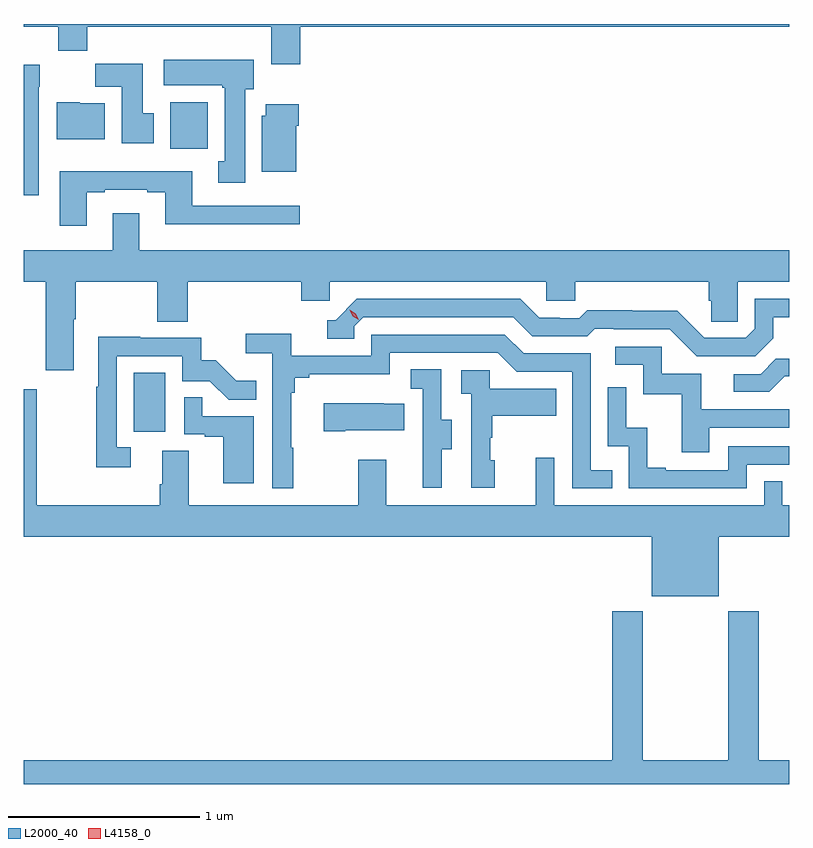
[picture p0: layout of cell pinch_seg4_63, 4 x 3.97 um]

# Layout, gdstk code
import gdstk
lib = gdstk.Library(unit=1e-6, precision=1e-09)
def R(c, l, rs):  # rectangles x0, y0, x1, y1
    for r in rs: c.add(gdstk.rectangle(r[:2], r[2:], *l))
def P(c, l, *ps):  # polygons
    for p in ps: c.add(gdstk.Polygon(p, *l))
L2000_40 = (2000, 40)
L4158_0 = (4158, 0)

pinch_seg4_63 = lib.new_cell('pinch_seg4_63')
R(pinch_seg4_63, L2000_40, [(1041.554,830.67,1041.718,830.977), (1041.743,832.148,1041.94,832.39)])
P(pinch_seg4_63, L2000_40, [(1042.424,832.784),(1044.978,832.784),(1044.978,832.799),(1040.978,832.799),(1040.978,832.784),(1041.16,832.784),(1041.16,832.66),(1041.311,832.66),(1041.311,832.784),(1042.271,832.784),(1042.271,832.59),(1042.424,832.59)],
  [(1042.135,832.458),(1042.18,832.458),(1042.18,832.612),(1041.711,832.612),(1041.711,832.478),(1042.015,832.478),(1042.015,832.465),(1042.028,832.465),(1042.028,832.082),(1041.995,832.082),(1041.995,831.969),(1042.135,831.969)],
  [(1041.658,832.332),(1041.601,832.332),(1041.601,832.591),(1041.352,832.591),(1041.352,832.472),(1041.491,832.472),(1041.491,832.176),(1041.658,832.176)],
  [(1041.057,832.472),(1041.062,832.472),(1041.062,832.585),(1040.978,832.585),(1040.978,831.904),(1041.057,831.904)],
  [(1041.403,832.384),(1041.27,832.384),(1041.27,832.39),(1041.152,832.39),(1041.152,832.196),(1041.403,832.196)],
  [(1042.402,832.268),(1042.415,832.268),(1042.415,832.381),(1042.244,832.381),(1042.244,832.32),(1042.223,832.32),(1042.223,832.028),(1042.402,832.028)],
  [(1041.307,831.921),(1041.403,831.921),(1041.403,831.933),(1041.623,831.933),(1041.623,831.921),(1041.719,831.921),(1041.719,831.752),(1042.42,831.752),(1042.42,831.849),(1041.859,831.849),(1041.859,832.03),(1041.167,832.03),(1041.167,831.744),(1041.307,831.744)],
  [(1041.241,831.256),(1041.249,831.256),(1041.249,831.452),(1041.676,831.452),(1041.676,831.244),(1041.836,831.244),(1041.836,831.452),(1042.427,831.452),(1042.427,831.354),(1042.578,831.354),(1042.578,831.452),(1043.709,831.452),(1043.709,831.354),(1043.859,831.354),(1043.859,831.452),(1044.557,831.452),(1044.557,831.354),(1044.571,831.354),(1044.571,831.244),(1044.708,831.244),(1044.708,831.452),(1044.978,831.452),(1044.978,831.616),(1041.583,831.616),(1041.583,831.811),(1041.443,831.811),(1041.443,831.616),(1040.978,831.616),(1040.978,831.452),(1041.094,831.452),(1041.094,830.991),(1041.241,830.991)],
  [(1044.895,831.157),(1044.895,831.267),(1044.978,831.267),(1044.978,831.363),(1044.798,831.363),(1044.798,831.207),(1044.75,831.159),(1044.534,831.159),(1044.392,831.301),(1044.156,831.301),(1044.156,831.304),(1043.923,831.304),(1043.881,831.261),(1043.778,831.261),(1043.778,831.264),(1043.671,831.264),(1043.572,831.363),(1042.719,831.363),(1042.608,831.252),(1042.565,831.252),(1042.565,831.156),(1042.704,831.156),(1042.704,831.219),(1042.752,831.267),(1043.535,831.267),(1043.634,831.168),(1043.923,831.168),(1043.962,831.207),(1044.061,831.207),(1044.061,831.204),(1044.354,831.204),(1044.495,831.063),(1044.801,831.063)],
  [(1042.387,830.585),(1042.375,830.585),(1042.375,830.873),(1042.394,830.873),(1042.394,830.95),(1042.471,830.95),(1042.471,830.969),(1042.89,830.969),(1042.89,831.081),(1043.454,831.081),(1043.553,830.982),(1043.844,830.982),(1043.844,830.373),(1044.053,830.373),(1044.053,830.469),(1043.94,830.469),(1043.94,831.078),(1043.59,831.078),(1043.491,831.177),(1042.794,831.177),(1042.794,831.066),(1042.376,831.066),(1042.376,831.182),(1042.137,831.182),(1042.137,831.08),(1042.278,831.08),(1042.278,830.373),(1042.387,830.373)],
  [(1041.538,830.589),(1041.465,830.589),(1041.465,831.063),(1041.807,831.063),(1041.807,830.934),(1041.951,830.934),(1042.049,830.836),(1042.193,830.836),(1042.193,830.935),(1042.089,830.935),(1041.982,831.042),(1041.906,831.042),(1041.906,831.159),(1041.587,831.159),(1041.587,831.164),(1041.369,831.164),(1041.369,830.903),(1041.357,830.903),(1041.357,830.484),(1041.538,830.484)],
  [(1044.559,830.691),(1044.978,830.691),(1044.978,830.787),(1044.517,830.787),(1044.517,830.973),(1044.312,830.973),(1044.312,831.114),(1044.069,831.114),(1044.069,831.018),(1044.216,831.018),(1044.216,830.865),(1044.415,830.865),(1044.415,830.562),(1044.559,830.562)],
  [(1044.955,830.958),(1044.978,830.958),(1044.978,831.05),(1044.908,831.05),(1044.828,830.97),(1044.687,830.97),(1044.687,830.877),(1044.874,830.877)],
  [(1043.161,830.578),(1043.215,830.578),(1043.215,830.733),(1043.16,830.733),(1043.16,830.996),(1043.001,830.996),(1043.001,830.893),(1043.064,830.893),(1043.064,830.589),(1043.063,830.589),(1043.063,830.376),(1043.161,830.376)],
  [(1043.44,830.52),(1043.415,830.52),(1043.415,830.639),(1043.425,830.639),(1043.425,830.753),(1043.759,830.753),(1043.759,830.893),(1043.412,830.893),(1043.412,830.991),(1043.265,830.991),(1043.265,830.867),(1043.316,830.867),(1043.316,830.376),(1043.44,830.376)],
  [(1044.756,830.496),(1044.978,830.496),(1044.978,830.592),(1044.66,830.592),(1044.66,830.469),(1044.331,830.469),(1044.331,830.482),(1044.236,830.482),(1044.236,830.69),(1044.126,830.69),(1044.126,830.902),(1044.03,830.902),(1044.03,830.592),(1044.138,830.592),(1044.138,830.373),(1044.756,830.373)],
  [(1044.61,830.12),(1044.978,830.12),(1044.978,830.284),(1044.942,830.284),(1044.942,830.411),(1044.846,830.411),(1044.846,830.284),(1043.751,830.284),(1043.751,830.533),(1043.654,830.533),(1043.654,830.284),(1042.873,830.284),(1042.873,830.524),(1042.726,830.524),(1042.726,830.284),(1041.841,830.284),(1041.841,830.57),(1041.701,830.57),(1041.701,830.396),(1041.689,830.396),(1041.689,830.284),(1041.046,830.284),(1041.046,830.89),(1040.978,830.89),(1040.978,830.12),(1044.26,830.12),(1044.26,829.811),(1044.61,829.811)],
  [(1042.18,830.751),(1041.911,830.751),(1041.911,830.849),(1041.816,830.849),(1041.816,830.655),(1041.923,830.655),(1041.923,830.643),(1042.022,830.643),(1042.022,830.4),(1042.18,830.4)],
  [(1042.657,830.678),(1042.967,830.678),(1042.967,830.815),(1042.859,830.815),(1042.859,830.818),(1042.545,830.818),(1042.545,830.671),(1042.657,830.671)],
  [(1044.978,828.952),(1044.818,828.952),(1044.818,829.732),(1044.658,829.732),(1044.658,828.952),(1044.213,828.952),(1044.213,829.732),(1044.053,829.732),(1044.053,828.952),(1040.978,828.952),(1040.978,828.829),(1044.978,828.829)])
P(pinch_seg4_63, L4158_0, [(1042.728,831.253),(1042.698,831.273),(1042.682,831.306),(1042.682,831.306),(1042.682,831.306),(1042.713,831.286),(1042.728,831.254),(1042.728,831.253)])

lib.write_gds('pinch_seg4_63.gds')
